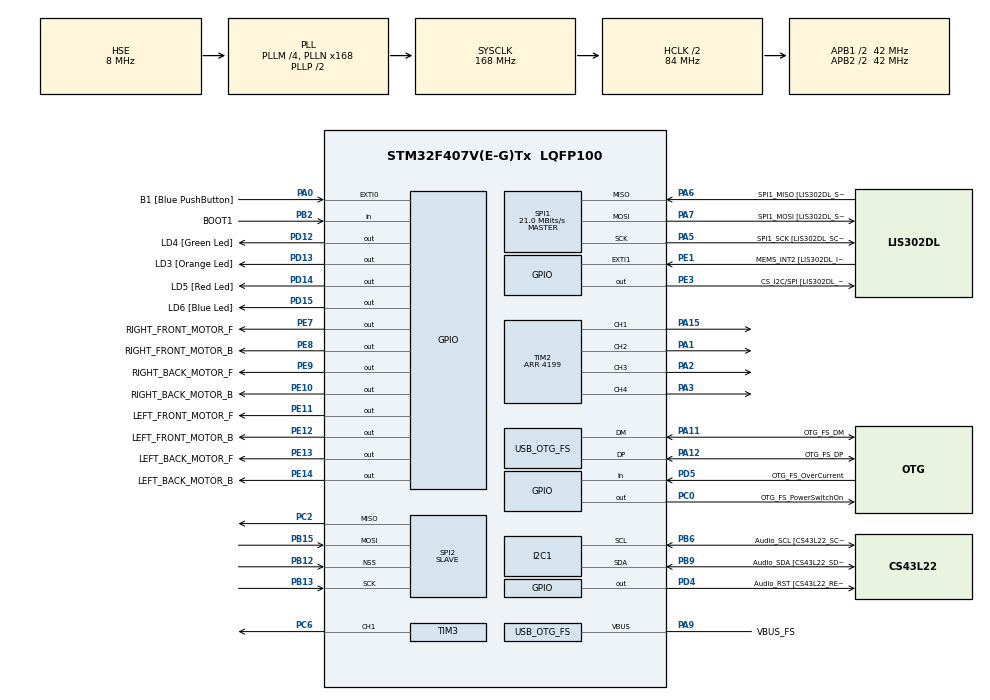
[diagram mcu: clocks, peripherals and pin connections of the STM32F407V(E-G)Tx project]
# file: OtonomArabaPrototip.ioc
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Mcu.Family=STM32F4
Mcu.Name=STM32F407V(E-G)Tx
Mcu.Package=LQFP100
NVIC.OTG_FS_IRQn=true\:0\:0\:false\:false\:true\:true\:true\:true
NVIC.PriorityGroup=NVIC_PRIORITYGROUP_0
NVIC.SPI2_IRQn=true\:0\:0\:false\:false\:true\:true\:true\:true
NVIC.TIM2_IRQn=true\:0\:0\:false\:false\:true\:true\:true\:true
NVIC.TIM3_IRQn=true\:0\:0\:false\:false\:true\:true\:true\:true
PA0-WKUP.GPIO_Label=B1 [Blue PushButton]
PA0-WKUP.GPIO_ModeDefaultEXTI=GPIO_MODE_EVT_RISING
PA0-WKUP.GPIO_PuPd=GPIO_NOPULL
PA0-WKUP.Signal=GPXTI0
PA1.Signal=S_TIM2_CH2
PA10.GPIO_Label=OTG_FS_ID
PA10.GPIO_Mode=GPIO_MODE_AF_PP
PA10.GPIO_PuPd=GPIO_NOPULL
PA10.GPIO_Speed=GPIO_SPEED_FREQ_LOW
PA10.Signal=USB_OTG_FS_ID
PA11.GPIO_Label=OTG_FS_DM
PA11.GPIO_Mode=GPIO_MODE_AF_PP
PA11.GPIO_PuPd=GPIO_NOPULL
PA11.GPIO_Speed=GPIO_SPEED_FREQ_LOW
PA11.Mode=Host_Only
PA11.Signal=USB_OTG_FS_DM
PA12.GPIO_Label=OTG_FS_DP
PA12.GPIO_Mode=GPIO_MODE_AF_PP
PA12.GPIO_PuPd=GPIO_NOPULL
PA12.GPIO_Speed=GPIO_SPEED_FREQ_LOW
PA12.Mode=Host_Only
PA12.Signal=USB_OTG_FS_DP
PA13.GPIO_Label=SWDIO
PA13.Mode=Serial_Wire
PA13.Signal=SYS_JTMS-SWDIO
PA14.GPIO_Label=SWCLK
PA14.Mode=Serial_Wire
PA14.Signal=SYS_JTCK-SWCLK
PA15.Signal=S_TIM2_CH1_ETR
PA2.Signal=S_TIM2_CH3
PA3.Signal=S_TIM2_CH4
PA4.GPIO_Label=I2S3_WS [CS43L22_LRCK]
PA4.GPIO_Mode=GPIO_MODE_AF_PP
PA4.GPIO_PuPd=GPIO_NOPULL
PA4.GPIO_Speed=GPIO_SPEED_FREQ_LOW
PA4.Signal=I2S3_WS
PA5.GPIO_Label=SPI1_SCK [LIS302DL_SCL/SPC]
PA5.GPIO_Mode=GPIO_MODE_AF_PP
PA5.GPIO_PuPd=GPIO_NOPULL
PA5.GPIO_Speed=GPIO_SPEED_FREQ_LOW
PA5.Mode=Full_Duplex_Master
PA5.Signal=SPI1_SCK
PA6.GPIO_Label=SPI1_MISO [LIS302DL_SDO]
PA6.GPIO_Mode=GPIO_MODE_AF_PP
PA6.GPIO_PuPd=GPIO_NOPULL
PA6.GPIO_Speed=GPIO_SPEED_FREQ_LOW
PA6.Mode=Full_Duplex_Master
PA6.Signal=SPI1_MISO
PA7.GPIO_Label=SPI1_MOSI [LIS302DL_SDA/SDI/SDO]
PA7.GPIO_Mode=GPIO_MODE_AF_PP
PA7.GPIO_PuPd=GPIO_NOPULL
PA7.GPIO_Speed=GPIO_SPEED_FREQ_LOW
PA7.Mode=Full_Duplex_Master
PA7.Signal=SPI1_MOSI
PA9.GPIO_Label=VBUS_FS
PA9.GPIO_Mode=GPIO_MODE_INPUT
PA9.GPIO_PuPd=GPIO_NOPULL
PA9.Mode=Activate_VBUS
PA9.Signal=USB_OTG_FS_VBUS
PB10.GPIO_Label=CLK_IN [MP45DT02_CLK]
PB10.GPIO_Mode=GPIO_MODE_AF_PP
PB10.GPIO_PuPd=GPIO_NOPULL
PB10.GPIO_Speed=GPIO_SPEED_FREQ_LOW
PB10.Signal=I2S2_CK
PB12.Mode=NSS_Signal_Hard_Input
PB12.Signal=SPI2_NSS
PB13.Mode=Full_Duplex_Slave
PB13.Signal=SPI2_SCK
PB15.Mode=Full_Duplex_Slave
PB15.Signal=SPI2_MOSI
PB2.GPIO_Label=BOOT1
PB2.GPIO_Mode=GPIO_MODE_INPUT
PB2.GPIO_PuPd=GPIO_NOPULL
PB2.Signal=GPIO_Input
PB3.GPIO_Label=SWO
PB3.Signal=SYS_JTDO-SWO
PB6.GPIO_Label=Audio_SCL [CS43L22_SCL]
PB6.GPIO_Mode=GPIO_MODE_AF_OD
PB6.GPIO_Pu=GPIO_PULLUP
PB6.GPIO_PuPd=GPIO_NOPULL
PB6.GPIO_Speed=GPIO_SPEED_FREQ_LOW
PB6.Mode=I2C
PB6.Signal=I2C1_SCL
PB9.GPIO_Label=Audio_SDA [CS43L22_SDA]
PB9.GPIO_Mode=GPIO_MODE_AF_OD
PB9.GPIO_Pu=GPIO_PULLUP
PB9.GPIO_PuPd=GPIO_NOPULL
PB9.GPIO_Speed=GPIO_SPEED_FREQ_LOW
PB9.Mode=I2C
PB9.Signal=I2C1_SDA
PC0.GPIO_Label=OTG_FS_PowerSwitchOn
PC0.GPIO_PuPd=GPIO_NOPULL
PC0.GPIO_Speed=GPIO_SPEED_FREQ_LOW
PC0.PinState=GPIO_PIN_SET
PC0.Signal=GPIO_Output
PC10.GPIO_Label=I2S3_SCK [CS43L22_SCLK]
PC10.GPIO_Mode=GPIO_MODE_AF_PP
PC10.GPIO_PuPd=GPIO_NOPULL
PC10.GPIO_Speed=GPIO_SPEED_FREQ_LOW
PC10.Signal=I2S3_CK
PC12.GPIO_Label=I2S3_SD [CS43L22_SDIN]
PC12.GPIO_Mode=GPIO_MODE_AF_PP
PC12.GPIO_PuPd=GPIO_NOPULL
PC12.GPIO_Speed=GPIO_SPEED_FREQ_LOW
PC12.Signal=I2S3_SD
PC14-OSC32_IN.GPIO_Label=PC14-OSC32_IN
PC14-OSC32_IN.Mode=LSE-External-Oscillator
PC14-OSC32_IN.Signal=RCC_OSC32_IN
PC15-OSC32_OUT.GPIO_Label=PC15-OSC32_OUT
PC15-OSC32_OUT.Mode=LSE-External-Oscillator
PC15-OSC32_OUT.Signal=RCC_OSC32_OUT
PC2.Mode=Full_Duplex_Slave
PC2.Signal=SPI2_MISO
PC3.GPIO_Label=PDM_OUT [MP45DT02_DOUT]
PC3.GPIO_Mode=GPIO_MODE_AF_PP
PC3.GPIO_PuPd=GPIO_NOPULL
PC3.GPIO_Speed=GPIO_SPEED_FREQ_LOW
PC3.Signal=I2S2_SD
PC6.Signal=S_TIM3_CH1
PC7.GPIO_Label=I2S3_MCK [CS43L22_MCLK]
PC7.GPIO_Mode=GPIO_MODE_AF_PP
PC7.GPIO_PuPd=GPIO_NOPULL
PC7.GPIO_Speed=GPIO_SPEED_FREQ_LOW
PC7.Signal=I2S3_MCK
PD12.GPIO_Label=LD4 [Green Led]
PD12.GPIO_PuPd=GPIO_NOPULL
PD12.GPIO_Speed=GPIO_SPEED_FREQ_LOW
PD12.Signal=GPIO_Output
PD13.GPIO_Label=LD3 [Orange Led]
PD13.GPIO_PuPd=GPIO_NOPULL
PD13.GPIO_Speed=GPIO_SPEED_FREQ_LOW
PD13.Signal=GPIO_Output
PD14.GPIO_Label=LD5 [Red Led]
PD14.GPIO_PuPd=GPIO_NOPULL
PD14.GPIO_Speed=GPIO_SPEED_FREQ_LOW
PD14.Signal=GPIO_Output
PD15.GPIO_Label=LD6 [Blue Led]
PD15.GPIO_PuPd=GPIO_NOPULL
PD15.GPIO_Speed=GPIO_SPEED_FREQ_LOW
PD15.Signal=GPIO_Output
PD4.GPIO_Label=Audio_RST [CS43L22_RESET]
PD4.GPIO_PuPd=GPIO_NOPULL
PD4.GPIO_Speed=GPIO_SPEED_FREQ_LOW
PD4.Signal=GPIO_Output
PD5.GPIO_Label=OTG_FS_OverCurrent
PD5.GPIO_Mode=GPIO_MODE_INPUT
PD5.GPIO_PuPd=GPIO_NOPULL
PD5.Signal=GPIO_Input
PE1.GPIO_Label=MEMS_INT2 [LIS302DL_INT2]
PE1.GPIO_ModeDefaultEXTI=GPIO_MODE_EVT_RISING
PE1.GPIO_PuPd=GPIO_NOPULL
PE1.Signal=GPXTI1
PE10.GPIO_Label=RIGHT_BACK_MOTOR_B
PE10.Signal=GPIO_Output
PE11.GPIO_Label=LEFT_FRONT_MOTOR_F
PE11.Signal=GPIO_Output
PE12.GPIO_Label=LEFT_FRONT_MOTOR_B
PE12.Signal=GPIO_Output
PE13.GPIO_Label=LEFT_BACK_MOTOR_F
PE13.Signal=GPIO_Output
PE14.GPIO_Label=LEFT_BACK_MOTOR_B
PE14.Signal=GPIO_Output
PE3.GPIO_Label=CS_I2C/SPI [LIS302DL_CS_I2C/SPI]
PE3.GPIO_PuPd=GPIO_NOPULL
PE3.GPIO_Speed=GPIO_SPEED_FREQ_LOW
PE3.Signal=GPIO_Output
PE7.GPIO_Label=RIGHT_FRONT_MOTOR_F
PE7.Signal=GPIO_Output
PE8.GPIO_Label=RIGHT_FRONT_MOTOR_B
PE8.Signal=GPIO_Output
PE9.GPIO_Label=RIGHT_BACK_MOTOR_F
PE9.Signal=GPIO_Output
PH0-OSC_IN.GPIO_Label=PH0-OSC_IN
PH0-OSC_IN.Mode=HSE-External-Oscillator
PH0-OSC_IN.Signal=RCC_OSC_IN
PH1-OSC_OUT.GPIO_Label=PH1-OSC_OUT
PH1-OSC_OUT.Mode=HSE-External-Oscillator
PH1-OSC_OUT.Signal=RCC_OSC_OUT
ProjectManager.HeapSize=0x200
ProjectManager.StackSize=0x400
ProjectManager.TargetToolchain=STM32CubeIDE
RCC.48MHZClocksFreq_Value=48000000
RCC.AHBCLKDivider=RCC_SYSCLK_DIV2
RCC.AHBFreq_Value=84000000
RCC.APB1CLKDivider=RCC_HCLK_DIV2
RCC.APB1Freq_Value=42000000
RCC.APB1TimFreq_Value=84000000
RCC.APB2CLKDivider=RCC_HCLK_DIV2
RCC.APB2Freq_Value=42000000
RCC.APB2TimFreq_Value=84000000
RCC.CortexFreq_Value=84000000
RCC.HCLKFreq_Value=84000000
RCC.HSE_VALUE=8000000
RCC.HSI_VALUE=16000000
RCC.PLLI2SN=50
RCC.PLLM=4
RCC.PLLN=168
RCC.PLLQ=7
RCC.SYSCLKFreq_VALUE=168000000
RCC.SYSCLKSource=RCC_SYSCLKSOURCE_PLLCLK
RCC.VCOOutputFreq_Value=336000000
SH.S_TIM2_CH1_ETR.0=TIM2_CH1,PWM Generation1 CH1
SH.S_TIM2_CH2.0=TIM2_CH2,PWM Generation2 CH2
SH.S_TIM2_CH3.0=TIM2_CH3,PWM Generation3 CH3
SH.S_TIM2_CH4.0=TIM2_CH4,PWM Generation4 CH4
SH.S_TIM3_CH1.0=TIM3_CH1,PWM Generation1 CH1
SPI1.BaudRatePrescaler-Full_Duplex_Master=SPI_BAUDRATEPRESCALER_2
SPI1.CalculateBaudRate=21.0 MBits/s
SPI1.CalculateBaudRate-Full_Duplex_Master=42.0 MBits/s
SPI1.Direction=SPI_DIRECTION_2LINES
SPI1.Mode=SPI_MODE_MASTER
SPI1.Mode-Full_Duplex_Master=SPI_MODE_MASTER
SPI1.VirtualType=VM_MASTER
SPI2.Direction=SPI_DIRECTION_2LINES
SPI2.Mode=SPI_MODE_SLAVE
SPI2.VirtualNSS=VM_NSSHARD
SPI2.VirtualType=VM_SLAVE
TIM2.Channel-PWM\ Generation1\ CH1=TIM_CHANNEL_1
TIM2.Channel-PWM\ Generation2\ CH2=TIM_CHANNEL_2
TIM2.Channel-PWM\ Generation3\ CH3=TIM_CHANNEL_3
TIM2.Channel-PWM\ Generation4\ CH4=TIM_CHANNEL_4
TIM2.Period=4199
TIM3.Channel-PWM\ Generation1\ CH1=TIM_CHANNEL_1
TIM3.Period=9999
TIM3.Prescaler=167
USB_HOST.BSP.number=1
USB_HOST.USBH_HandleTypeDef-CDC_FS=hUsbHostFS
USB_HOST.VirtualModeFS=Cdc
USB_HOST0.BSP.STBoard=false
USB_HOST0.BSP.api=Unknown
USB_HOST0.BSP.instance=PC0
USB_HOST0.BSP.ip=GPIO
USB_HOST0.BSP.mode=Output
USB_HOST0.BSP.name=Drive_VBUS_FS
USB_HOST0.BSP.solution=PC0
USB_OTG_FS.VirtualMode=Host_Only
USB_OTG_FS.phy_itface=HCD_PHY_EMBEDDED
VP_TIM2_VS_ClockSourceINT.Mode=Internal
VP_TIM3_VS_ClockSourceINT.Mode=Internal
VP_USB_HOST_VS_USB_HOST_CDC_FS.Mode=CDC_FS
board=STM32F407G-DISC1

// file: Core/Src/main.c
/* USER CODE BEGIN Header */
/**
  ******************************************************************************
  * @file           : main.c
  * @brief          : Main program body
  ******************************************************************************
  * @attention
  *
  * Copyright (c) 2025 STMicroelectronics.
  * All rights reserved.
  *
  * This software is licensed under terms that can be found in the LICENSE file
  * in the root directory of this software component.
  * If no LICENSE file comes with this software, it is provided AS-IS.
  *
  ******************************************************************************
  */
/* USER CODE END Header */
#include "main.h"
#include "usb_host.h"

/* USER CODE BEGIN Includes */
#include "readdata.h"
#include "movent.h"
/* USER CODE END Includes */

/* USER CODE BEGIN PTD */
typedef enum{
	MANUAL = 0,
	AUTO = 1
}ModeState;
/* USER CODE END PTD */

/* USER CODE BEGIN PD */
uint8_t rxData[10];  // Alınacak veri için bir buffer
void SPI_Slave_Receive(void);
/* USER CODE END PD */

I2C_HandleTypeDef hi2c1;

SPI_HandleTypeDef hspi1;
SPI_HandleTypeDef hspi2;

TIM_HandleTypeDef htim2;
TIM_HandleTypeDef htim3;

void SystemClock_Config(void);
static void MX_GPIO_Init(void);
static void MX_I2C1_Init(void);
static void MX_SPI1_Init(void);
static void MX_SPI2_Init(void);
static void MX_TIM2_Init(void);
static void MX_TIM3_Init(void);
void MX_USB_HOST_Process(void);

int main(void)
{

  /* MCU Configuration--------------------------------------------------------*/

  /* Reset of all peripherals, Initializes the Flash interface and the Systick. */
  HAL_Init();

  /* Configure the system clock */
  SystemClock_Config();

  /* Initialize all configured peripherals */
  MX_GPIO_Init();
  MX_I2C1_Init();
  MX_SPI1_Init();
  MX_USB_HOST_Init();
  MX_SPI2_Init();
  MX_TIM2_Init();
  MX_TIM3_Init();
  /* USER CODE BEGIN 2 */
  SPI_Slave_Receive();

  //Timmerları başlatma
  HAL_TIM_PWM_Start(&htim2, TIM_CHANNEL_1);
  HAL_TIM_PWM_Start(&htim2, TIM_CHANNEL_2);
  HAL_TIM_PWM_Start(&htim2, TIM_CHANNEL_3);
  HAL_TIM_PWM_Start(&htim2, TIM_CHANNEL_4);

  HAL_TIM_PWM_Start(&htim3, TIM_CHANNEL_1);
  /* USER CODE END 2 */

  /* Infinite loop */
  while (1)
  {
    MX_USB_HOST_Process();

    /* USER CODE BEGIN 3 */
    READ_ProcessReceivedData(&rxData);

    int mode = READ_Get_Data(0);
    int speed = READ_Get_Data(1);
    int angle = READ_Get_Data(2);

    ModeState modeState = 0;

    switch(modeState){
    	case MANUAL:
    		MOVENT_Control(250, 0);
    		break;
    	case AUTO:
    		break;
    	default:
    		break;
    }
  }
  /* USER CODE END 3 */
}

void SystemClock_Config(void)
{
  RCC_OscInitTypeDef RCC_OscInitStruct = {0};
  RCC_ClkInitTypeDef RCC_ClkInitStruct = {0};

  /** Configure the main internal regulator output voltage
  */
  __HAL_RCC_PWR_CLK_ENABLE();
  __HAL_PWR_VOLTAGESCALING_CONFIG(PWR_REGULATOR_VOLTAGE_SCALE1);

  /** Initializes the RCC Oscillators according to the specified parameters
  * in the RCC_OscInitTypeDef structure.
  */
  RCC_OscInitStruct.OscillatorType = RCC_OSCILLATORTYPE_HSE;
  RCC_OscInitStruct.HSEState = RCC_HSE_ON;
  RCC_OscInitStruct.PLL.PLLState = RCC_PLL_ON;
  RCC_OscInitStruct.PLL.PLLSource = RCC_PLLSOURCE_HSE;
  RCC_OscInitStruct.PLL.PLLM = 4;
  RCC_OscInitStruct.PLL.PLLN = 168;
  RCC_OscInitStruct.PLL.PLLP = RCC_PLLP_DIV2;
  RCC_OscInitStruct.PLL.PLLQ = 7;
  if (HAL_RCC_OscConfig(&RCC_OscInitStruct) != HAL_OK)
  {
    Error_Handler();
  }

  /** Initializes the CPU, AHB and APB buses clocks
  */
  RCC_ClkInitStruct.ClockType = RCC_CLOCKTYPE_HCLK|RCC_CLOCKTYPE_SYSCLK
                              |RCC_CLOCKTYPE_PCLK1|RCC_CLOCKTYPE_PCLK2;
  RCC_ClkInitStruct.SYSCLKSource = RCC_SYSCLKSOURCE_PLLCLK;
  RCC_ClkInitStruct.AHBCLKDivider = RCC_SYSCLK_DIV2;
  RCC_ClkInitStruct.APB1CLKDivider = RCC_HCLK_DIV2;
  RCC_ClkInitStruct.APB2CLKDivider = RCC_HCLK_DIV2;

  if (HAL_RCC_ClockConfig(&RCC_ClkInitStruct, FLASH_LATENCY_2) != HAL_OK)
  {
    Error_Handler();
  }
}

static void MX_I2C1_Init(void)
{

  hi2c1.Instance = I2C1;
  hi2c1.Init.ClockSpeed = 100000;
  hi2c1.Init.DutyCycle = I2C_DUTYCYCLE_2;
  hi2c1.Init.OwnAddress1 = 0;
  hi2c1.Init.AddressingMode = I2C_ADDRESSINGMODE_7BIT;
  hi2c1.Init.DualAddressMode = I2C_DUALADDRESS_DISABLE;
  hi2c1.Init.OwnAddress2 = 0;
  hi2c1.Init.GeneralCallMode = I2C_GENERALCALL_DISABLE;
  hi2c1.Init.NoStretchMode = I2C_NOSTRETCH_DISABLE;
  if (HAL_I2C_Init(&hi2c1) != HAL_OK)
  {
    Error_Handler();
  }

}

static void MX_SPI1_Init(void)
{

  /* SPI1 parameter configuration*/
  hspi1.Instance = SPI1;
  hspi1.Init.Mode = SPI_MODE_MASTER;
  hspi1.Init.Direction = SPI_DIRECTION_2LINES;
  hspi1.Init.DataSize = SPI_DATASIZE_8BIT;
  hspi1.Init.CLKPolarity = SPI_POLARITY_LOW;
  hspi1.Init.CLKPhase = SPI_PHASE_1EDGE;
  hspi1.Init.NSS = SPI_NSS_SOFT;
  hspi1.Init.BaudRatePrescaler = SPI_BAUDRATEPRESCALER_2;
  hspi1.Init.FirstBit = SPI_FIRSTBIT_MSB;
  hspi1.Init.TIMode = SPI_TIMODE_DISABLE;
  hspi1.Init.CRCCalculation = SPI_CRCCALCULATION_DISABLE;
  hspi1.Init.CRCPolynomial = 10;
  if (HAL_SPI_Init(&hspi1) != HAL_OK)
  {
    Error_Handler();
  }

}

static void MX_SPI2_Init(void)
{

  /* SPI2 parameter configuration*/
  hspi2.Instance = SPI2;
  hspi2.Init.Mode = SPI_MODE_SLAVE;
  hspi2.Init.Direction = SPI_DIRECTION_2LINES;
  hspi2.Init.DataSize = SPI_DATASIZE_8BIT;
  hspi2.Init.CLKPolarity = SPI_POLARITY_LOW;
  hspi2.Init.CLKPhase = SPI_PHASE_1EDGE;
  hspi2.Init.NSS = SPI_NSS_HARD_INPUT;
  hspi2.Init.FirstBit = SPI_FIRSTBIT_MSB;
  hspi2.Init.TIMode = SPI_TIMODE_DISABLE;
  hspi2.Init.CRCCalculation = SPI_CRCCALCULATION_DISABLE;
  hspi2.Init.CRCPolynomial = 10;
  if (HAL_SPI_Init(&hspi2) != HAL_OK)
  {
    Error_Handler();
  }

}

static void MX_TIM2_Init(void)
{

  TIM_ClockConfigTypeDef sClockSourceConfig = {0};
  TIM_MasterConfigTypeDef sMasterConfig = {0};
  TIM_OC_InitTypeDef sConfigOC = {0};

  htim2.Instance = TIM2;
  htim2.Init.Prescaler = 0;
  htim2.Init.CounterMode = TIM_COUNTERMODE_UP;
  htim2.Init.Period = 4199;
  htim2.Init.ClockDivision = TIM_CLOCKDIVISION_DIV1;
  htim2.Init.AutoReloadPreload = TIM_AUTORELOAD_PRELOAD_DISABLE;
  if (HAL_TIM_Base_Init(&htim2) != HAL_OK)
  {
    Error_Handler();
  }
  sClockSourceConfig.ClockSource = TIM_CLOCKSOURCE_INTERNAL;
  if (HAL_TIM_ConfigClockSource(&htim2, &sClockSourceConfig) != HAL_OK)
  {
    Error_Handler();
  }
  if (HAL_TIM_PWM_Init(&htim2) != HAL_OK)
  {
    Error_Handler();
  }
  sMasterConfig.MasterOutputTrigger = TIM_TRGO_RESET;
  sMasterConfig.MasterSlaveMode = TIM_MASTERSLAVEMODE_DISABLE;
  if (HAL_TIMEx_MasterConfigSynchronization(&htim2, &sMasterConfig) != HAL_OK)
  {
    Error_Handler();
  }
  sConfigOC.OCMode = TIM_OCMODE_PWM1;
  sConfigOC.Pulse = 0;
  sConfigOC.OCPolarity = TIM_OCPOLARITY_HIGH;
  sConfigOC.OCFastMode = TIM_OCFAST_DISABLE;
  if (HAL_TIM_PWM_ConfigChannel(&htim2, &sConfigOC, TIM_CHANNEL_1) != HAL_OK)
  {
    Error_Handler();
  }
  if (HAL_TIM_PWM_ConfigChannel(&htim2, &sConfigOC, TIM_CHANNEL_2) != HAL_OK)
  {
    Error_Handler();
  }
  if (HAL_TIM_PWM_ConfigChannel(&htim2, &sConfigOC, TIM_CHANNEL_3) != HAL_OK)
  {
    Error_Handler();
  }
  if (HAL_TIM_PWM_ConfigChannel(&htim2, &sConfigOC, TIM_CHANNEL_4) != HAL_OK)
  {
    Error_Handler();
  }
  HAL_TIM_MspPostInit(&htim2);

}

static void MX_TIM3_Init(void)
{

  TIM_ClockConfigTypeDef sClockSourceConfig = {0};
  TIM_MasterConfigTypeDef sMasterConfig = {0};
  TIM_OC_InitTypeDef sConfigOC = {0};

  htim3.Instance = TIM3;
  htim3.Init.Prescaler = 167;
  htim3.Init.CounterMode = TIM_COUNTERMODE_UP;
  htim3.Init.Period = 9999;
  htim3.Init.ClockDivision = TIM_CLOCKDIVISION_DIV1;
  htim3.Init.AutoReloadPreload = TIM_AUTORELOAD_PRELOAD_DISABLE;
  if (HAL_TIM_Base_Init(&htim3) != HAL_OK)
  {
    Error_Handler();
  }
  sClockSourceConfig.ClockSource = TIM_CLOCKSOURCE_INTERNAL;
  if (HAL_TIM_ConfigClockSource(&htim3, &sClockSourceConfig) != HAL_OK)
  {
    Error_Handler();
  }
  if (HAL_TIM_PWM_Init(&htim3) != HAL_OK)
  {
    Error_Handler();
  }
  sMasterConfig.MasterOutputTrigger = TIM_TRGO_RESET;
  sMasterConfig.MasterSlaveMode = TIM_MASTERSLAVEMODE_DISABLE;
  if (HAL_TIMEx_MasterConfigSynchronization(&htim3, &sMasterConfig) != HAL_OK)
  {
    Error_Handler();
  }
  sConfigOC.OCMode = TIM_OCMODE_PWM1;
  sConfigOC.Pulse = 0;
  sConfigOC.OCPolarity = TIM_OCPOLARITY_HIGH;
  sConfigOC.OCFastMode = TIM_OCFAST_DISABLE;
  if (HAL_TIM_PWM_ConfigChannel(&htim3, &sConfigOC, TIM_CHANNEL_1) != HAL_OK)
  {
    Error_Handler();
  }
  HAL_TIM_MspPostInit(&htim3);

}

static void MX_GPIO_Init(void)
{
  GPIO_InitTypeDef GPIO_InitStruct = {0};

  /* GPIO Ports Clock Enable */
  __HAL_RCC_GPIOE_CLK_ENABLE();
  __HAL_RCC_GPIOC_CLK_ENABLE();
  __HAL_RCC_GPIOH_CLK_ENABLE();
  __HAL_RCC_GPIOA_CLK_ENABLE();
  __HAL_RCC_GPIOB_CLK_ENABLE();
  __HAL_RCC_GPIOD_CLK_ENABLE();

  /*Configure GPIO pin Output Level */
  HAL_GPIO_WritePin(GPIOE, CS_I2C_SPI_Pin|RIGHT_FRONT_MOTOR_F_Pin|RIGHT_FRONT_MOTOR_B_Pin|RIGHT_BACK_MOTOR_F_Pin
                          |RIGHT_BACK_MOTOR_B_Pin|LEFT_FRONT_MOTOR_F_Pin|LEFT_FRONT_MOTOR_B_Pin|LEFT_BACK_MOTOR_F_Pin
                          |LEFT_BACK_MOTOR_B_Pin, GPIO_PIN_RESET);

  /*Configure GPIO pin Output Level */
  HAL_GPIO_WritePin(OTG_FS_PowerSwitchOn_GPIO_Port, OTG_FS_PowerSwitchOn_Pin, GPIO_PIN_SET);

  /*Configure GPIO pin Output Level */
  HAL_GPIO_WritePin(GPIOD, LD4_Pin|LD3_Pin|LD5_Pin|LD6_Pin
                          |Audio_RST_Pin, GPIO_PIN_RESET);

  /*Configure GPIO pins : CS_I2C_SPI_Pin RIGHT_FRONT_MOTOR_F_Pin RIGHT_FRONT_MOTOR_B_Pin RIGHT_BACK_MOTOR_F_Pin
                           RIGHT_BACK_MOTOR_B_Pin LEFT_FRONT_MOTOR_F_Pin LEFT_FRONT_MOTOR_B_Pin LEFT_BACK_MOTOR_F_Pin
                           LEFT_BACK_MOTOR_B_Pin */
  GPIO_InitStruct.Pin = CS_I2C_SPI_Pin|RIGHT_FRONT_MOTOR_F_Pin|RIGHT_FRONT_MOTOR_B_Pin|RIGHT_BACK_MOTOR_F_Pin
                          |RIGHT_BACK_MOTOR_B_Pin|LEFT_FRONT_MOTOR_F_Pin|LEFT_FRONT_MOTOR_B_Pin|LEFT_BACK_MOTOR_F_Pin
                          |LEFT_BACK_MOTOR_B_Pin;
  GPIO_InitStruct.Mode = GPIO_MODE_OUTPUT_PP;
  GPIO_InitStruct.Pull = GPIO_NOPULL;
  GPIO_InitStruct.Speed = GPIO_SPEED_FREQ_LOW;
  HAL_GPIO_Init(GPIOE, &GPIO_InitStruct);

  /*Configure GPIO pin : OTG_FS_PowerSwitchOn_Pin */
  GPIO_InitStruct.Pin = OTG_FS_PowerSwitchOn_Pin;
  GPIO_InitStruct.Mode = GPIO_MODE_OUTPUT_PP;
  GPIO_InitStruct.Pull = GPIO_NOPULL;
  GPIO_InitStruct.Speed = GPIO_SPEED_FREQ_LOW;
  HAL_GPIO_Init(OTG_FS_PowerSwitchOn_GPIO_Port, &GPIO_InitStruct);

  /*Configure GPIO pin : PDM_OUT_Pin */
  GPIO_InitStruct.Pin = PDM_OUT_Pin;
  GPIO_InitStruct.Mode = GPIO_MODE_AF_PP;
  GPIO_InitStruct.Pull = GPIO_NOPULL;
  GPIO_InitStruct.Speed = GPIO_SPEED_FREQ_LOW;
  GPIO_InitStruct.Alternate = GPIO_AF5_SPI2;
  HAL_GPIO_Init(PDM_OUT_GPIO_Port, &GPIO_InitStruct);

  /*Configure GPIO pin : B1_Pin */
  GPIO_InitStruct.Pin = B1_Pin;
  GPIO_InitStruct.Mode = GPIO_MODE_EVT_RISING;
  GPIO_InitStruct.Pull = GPIO_NOPULL;
  HAL_GPIO_Init(B1_GPIO_Port, &GPIO_InitStruct);

  /*Configure GPIO pin : I2S3_WS_Pin */
  GPIO_InitStruct.Pin = I2S3_WS_Pin;
  GPIO_InitStruct.Mode = GPIO_MODE_AF_PP;
  GPIO_InitStruct.Pull = GPIO_NOPULL;
  GPIO_InitStruct.Speed = GPIO_SPEED_FREQ_LOW;
  GPIO_InitStruct.Alternate = GPIO_AF6_SPI3;
  HAL_GPIO_Init(I2S3_WS_GPIO_Port, &GPIO_InitStruct);

  /*Configure GPIO pin : BOOT1_Pin */
  GPIO_InitStruct.Pin = BOOT1_Pin;
  GPIO_InitStruct.Mode = GPIO_MODE_INPUT;
  GPIO_InitStruct.Pull = GPIO_NOPULL;
  HAL_GPIO_Init(BOOT1_GPIO_Port, &GPIO_InitStruct);

  /*Configure GPIO pin : CLK_IN_Pin */
  GPIO_InitStruct.Pin = CLK_IN_Pin;
  GPIO_InitStruct.Mode = GPIO_MODE_AF_PP;
  GPIO_InitStruct.Pull = GPIO_NOPULL;
  GPIO_InitStruct.Speed = GPIO_SPEED_FREQ_LOW;
  GPIO_InitStruct.Alternate = GPIO_AF5_SPI2;
  HAL_GPIO_Init(CLK_IN_GPIO_Port, &GPIO_InitStruct);

  /*Configure GPIO pins : LD4_Pin LD3_Pin LD5_Pin LD6_Pin
                           Audio_RST_Pin */
  GPIO_InitStruct.Pin = LD4_Pin|LD3_Pin|LD5_Pin|LD6_Pin
                          |Audio_RST_Pin;
  GPIO_InitStruct.Mode = GPIO_MODE_OUTPUT_PP;
  GPIO_InitStruct.Pull = GPIO_NOPULL;
  GPIO_InitStruct.Speed = GPIO_SPEED_FREQ_LOW;
  HAL_GPIO_Init(GPIOD, &GPIO_InitStruct);

  /*Configure GPIO pins : I2S3_MCK_Pin I2S3_SCK_Pin I2S3_SD_Pin */
  GPIO_InitStruct.Pin = I2S3_MCK_Pin|I2S3_SCK_Pin|I2S3_SD_Pin;
  GPIO_InitStruct.Mode = GPIO_MODE_AF_PP;
  GPIO_InitStruct.Pull = GPIO_NOPULL;
  GPIO_InitStruct.Speed = GPIO_SPEED_FREQ_LOW;
  GPIO_InitStruct.Alternate = GPIO_AF6_SPI3;
  HAL_GPIO_Init(GPIOC, &GPIO_InitStruct);

  /*Configure GPIO pin : OTG_FS_OverCurrent_Pin */
  GPIO_InitStruct.Pin = OTG_FS_OverCurrent_Pin;
  GPIO_InitStruct.Mode = GPIO_MODE_INPUT;
  GPIO_InitStruct.Pull = GPIO_NOPULL;
  HAL_GPIO_Init(OTG_FS_OverCurrent_GPIO_Port, &GPIO_InitStruct);

  /*Configure GPIO pin : MEMS_INT2_Pin */
  GPIO_InitStruct.Pin = MEMS_INT2_Pin;
  GPIO_InitStruct.Mode = GPIO_MODE_EVT_RISING;
  GPIO_InitStruct.Pull = GPIO_NOPULL;
  HAL_GPIO_Init(MEMS_INT2_GPIO_Port, &GPIO_InitStruct);

}

/* USER CODE BEGIN 4 */
uint8_t rxData[10];  // Alınacak veri için bir buffer

void SPI_Slave_Receive(void)
{
    // Veri alımına başlamak için interrupt'ı başlatıyoruz
    if (HAL_SPI_Receive_IT(&hspi2, rxData, sizeof(rxData)) != HAL_OK)
    {
        // Hata durumu, veri alınamadı
        Error_Handler();
    }
}

void HAL_SPI_RxCpltCallback(SPI_HandleTypeDef *hspi)
{
    if (hspi->Instance == SPI2)
    {
        // Yeni veri almak için SPI slave'ı tekrar başlatabilirsiniz
        SPI_Slave_Receive();
    }
}

/* USER CODE END 4 */

void Error_Handler(void)
{
  __disable_irq();
  while (1)
  {
  }
}
